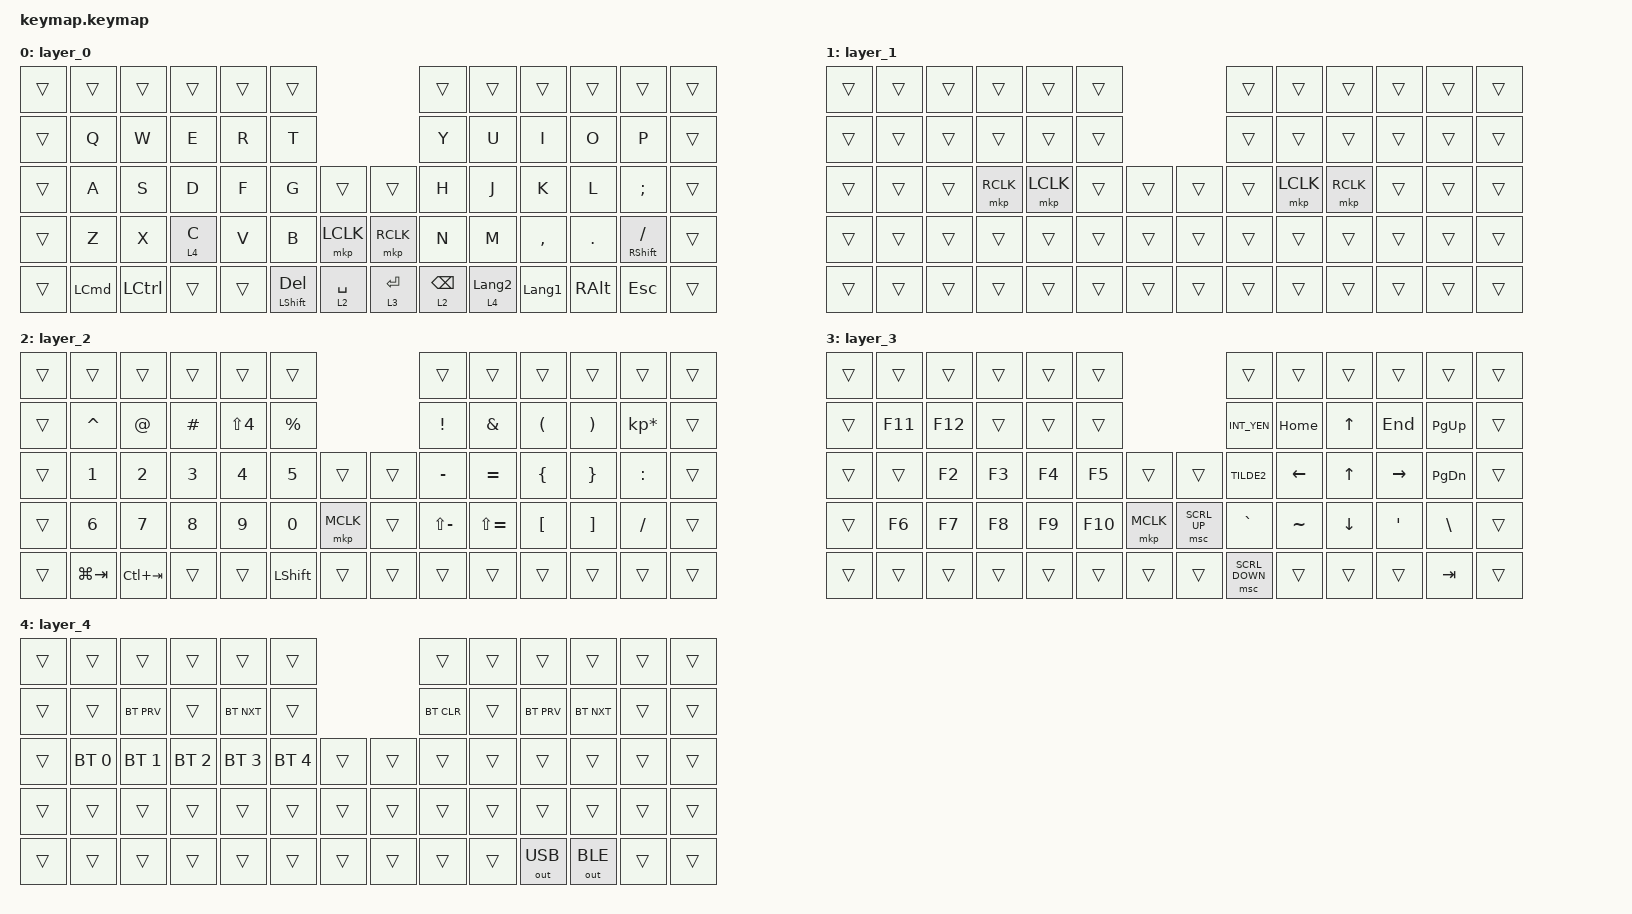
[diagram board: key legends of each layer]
#include <behaviors.dtsi>
#include <dt-bindings/zmk/bt.h>
#include <dt-bindings/zmk/keys.h>
#include <dt-bindings/zmk/outputs.h>
#include <dt-bindings/zmk/pointing.h>

// OS設定を日本語キーボードのまま使用するための変換定義

#define JP_DQUOTE       AT                // "
#define JP_AMPERSAND    CARET             // &
#define JP_QUOTE        AMPERSAND         // '
#define JP_EQUAL        UNDER             // =
#define JP_CARET        EQUAL             // ^
#define JP_YEN          0x89              // ¥
#define JP_PLUS         COLON             // +
#define JP_TILDE        PLUS              // ~
#define JP_PIPE         LS(0x89)          // |
#define JP_AT           LEFT_BRACKET      // @
#define JP_COLON        SINGLE_QUOTE      // :
#define JP_ASTERISK     DOUBLE_QUOTES     // *
#define JP_BACKQUOTE    LEFT_BRACE        // `
#define JP_UNDERSCORE   LS(0x87)          // _
#define JP_LBRACKET     RIGHT_BRACKET     // [
#define JP_RBRACKET     BACKSLASH         // ]
#define JP_LPAREN       ASTERISK          // (
#define JP_RPAREN       LEFT_PARENTHESIS  // )
#define JP_LBRACE       RIGHT_BRACE       // {
#define JP_RBRACE       PIPE              // }
#define JP_KANA         LANGUAGE_1        // かな
#define JP_EISU         LANGUAGE_2        // 英数
#define JP_HANZEN       GRAVE             // 半角/全角

/ {
    combos { compatible = "zmk,combos"; };

    macros {
        bt_layer0_macro: bt_layer_macro {
            compatible = "zmk,behavior-macro";
            #binding-cells = <0>;
            bindings = <&bt BT_SEL 0>, <&macro_wait_time 200>, <&to 0>;

            label = "BT_LAYER_MACRO";
        };

        bt_layer5_macro: bt_layer2_macro {
            compatible = "zmk,behavior-macro";
            #binding-cells = <0>;
            bindings = <&bt BT_SEL 4>, <&macro_wait_time 200>, <&to 0>;

            label = "BT_LAYER2_MACRO";
        };
    };

    keymap {
        compatible = "zmk,keymap";

        layer_0 {
            bindings = <
&trans  &trans            &trans     &trans   &trans  &trans                                        &trans           &trans            &trans          &trans         &trans                &trans
&trans  &kp Q             &kp W      &kp E    &kp R   &kp T                                         &kp Y            &kp U             &kp I           &kp O          &kp P                 &trans
&trans  &kp A             &kp S      &kp D    &kp F   &kp G               &trans       &trans       &kp H            &kp J             &kp K           &kp L          &kp SEMI              &trans
&trans  &kp Z             &kp X      &lt 4 C  &kp V   &kp B               &mkp LCLK    &mkp RCLK    &kp N            &kp M             &kp COMMA       &kp DOT        &mt RIGHT_SHIFT FSLH  &trans
&trans  &kp LEFT_COMMAND  &kp LCTRL  &trans   &trans  &mt LEFT_SHIFT DEL  &lt 2 SPACE  &lt 3 ENTER  &lt 2 BACKSPACE  &lt 4 LANGUAGE_2  &kp LANGUAGE_1  &kp RIGHT_ALT  &kp ESC               &trans
            >;
        };

        layer_1 {
            bindings = <
&trans  &trans  &trans  &trans     &trans     &trans                  &trans  &trans     &trans     &trans  &trans  &trans
&trans  &trans  &trans  &trans     &trans     &trans                  &trans  &trans     &trans     &trans  &trans  &trans
&trans  &trans  &trans  &mkp RCLK  &mkp LCLK  &trans  &trans  &trans  &trans  &mkp LCLK  &mkp RCLK  &trans  &trans  &trans
&trans  &trans  &trans  &trans     &trans     &trans  &trans  &trans  &trans  &trans     &trans     &trans  &trans  &trans
&trans  &trans  &trans  &trans     &trans     &trans  &trans  &trans  &trans  &trans     &trans     &trans  &trans  &trans
            >;
        };

        layer_2 {
            bindings = <
&trans  &trans       &trans       &trans    &trans            &trans                             &trans         &trans         &trans                &trans                 &trans           &trans
&trans  &kp CARET    &kp AT       &kp HASH  &kp LS(NUMBER_4)  &kp PERCENT                        &kp EXCL       &kp AMPS       &kp LEFT_PARENTHESIS  &kp RIGHT_PARENTHESIS  &kp KP_ASTERISK  &trans
&trans  &kp N1       &kp N2       &kp N3    &kp N4            &kp N5          &trans     &trans  &kp MINUS      &kp EQUAL      &kp LEFT_BRACE        &kp RIGHT_BRACE        &kp COLON        &trans
&trans  &kp N6       &kp N7       &kp N8    &kp N9            &kp N0          &mkp MCLK  &trans  &kp LS(MINUS)  &kp LS(EQUAL)  &kp LEFT_BRACKET      &kp RIGHT_BRACKET      &kp SLASH        &trans
&trans  &kp LG(TAB)  &kp LC(TAB)  &trans    &trans            &kp LEFT_SHIFT  &trans     &trans  &trans         &trans         &trans                &trans                 &trans           &trans
            >;
        };

        layer_3 {
            bindings = <
&trans  &trans   &trans   &trans  &trans  &trans                            &trans          &trans     &trans    &trans     &trans         &trans
&trans  &kp F11  &kp F12  &trans  &trans  &trans                            &kp INT_YEN     &kp HOME   &kp UP    &kp END    &kp PAGE_UP    &trans
&trans  &trans   &kp F2   &kp F3  &kp F4  &kp F5   &trans     &trans        &kp TILDE2      &kp LEFT   &kp UP    &kp RIGHT  &kp PAGE_DOWN  &trans
&trans  &kp F6   &kp F7   &kp F8  &kp F9  &kp F10  &mkp MCLK  &msc SCRL_UP  &kp GRAVE       &kp TILDE  &kp DOWN  &kp SQT    &kp BACKSLASH  &trans
&trans  &trans   &trans   &trans  &trans  &trans   &trans     &trans        &msc SCRL_DOWN  &trans     &trans    &trans     &kp TAB        &trans
            >;
        };

        layer_4 {
            bindings = <
&trans  &trans        &trans        &trans        &trans        &trans                        &trans      &trans  &trans        &trans        &trans  &trans
&trans  &trans        &bt BT_PRV    &trans        &bt BT_NXT    &trans                        &bt BT_CLR  &trans  &bt BT_PRV    &bt BT_NXT    &trans  &trans
&trans  &bt BT_SEL 0  &bt BT_SEL 1  &bt BT_SEL 2  &bt BT_SEL 3  &bt BT_SEL 4  &trans  &trans  &trans      &trans  &trans        &trans        &trans  &trans
&trans  &trans        &trans        &trans        &trans        &trans        &trans  &trans  &trans      &trans  &trans        &trans        &trans  &trans
&trans  &trans        &trans        &trans        &trans        &trans        &trans  &trans  &trans      &trans  &out OUT_USB  &out OUT_BLE  &trans  &trans
            >;
        };
    };
};
